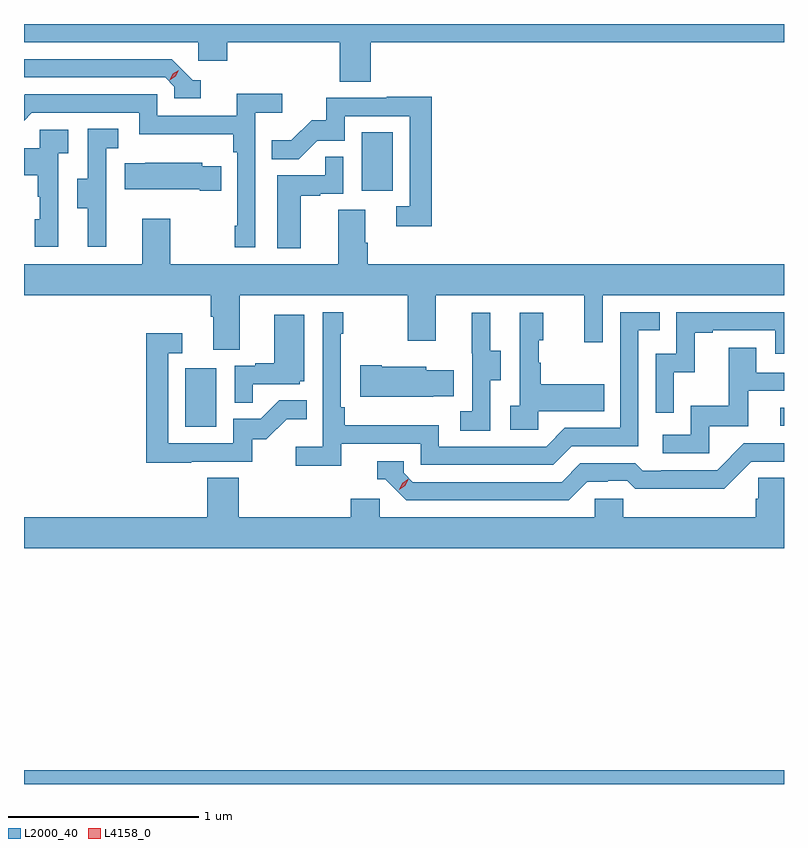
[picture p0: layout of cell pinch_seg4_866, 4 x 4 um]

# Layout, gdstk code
import gdstk
lib = gdstk.Library(unit=1e-6, precision=1e-09)
def R(c, l, rs):  # rectangles x0, y0, x1, y1
    for r in rs: c.add(gdstk.rectangle(r[:2], r[2:], *l))
def P(c, l, *ps):  # polygons
    for p in ps: c.add(gdstk.Polygon(p, *l))
L2000_40 = (2000, 40)
L4158_0 = (4158, 0)

pinch_seg4_866 = lib.new_cell('pinch_seg4_866')
R(pinch_seg4_866, L2000_40, [(853.56,790.252,857.56,790.324), (854.408,792.132,854.572,792.439), (857.541,792.138,857.56,792.231), (855.338,793.374,855.502,793.681)])
P(pinch_seg4_866, L2000_40, [(855.386,794.156),(857.56,794.156),(857.56,794.252),(853.56,794.252),(853.56,794.156),(854.478,794.156),(854.478,794.058),(854.63,794.058),(854.63,794.156),(855.221,794.156),(855.221,793.948),(855.386,793.948)],
  [(854.491,793.956),(854.448,793.956),(854.337,794.067),(853.56,794.067),(853.56,793.971),(854.304,793.971),(854.352,793.923),(854.352,793.86),(854.491,793.86)],
  [(854.778,793.784),(854.92,793.784),(854.92,793.886),(854.681,793.886),(854.681,793.77),(854.262,793.77),(854.262,793.881),(853.565,793.881),(853.56,793.876),(853.56,793.743),(853.602,793.785),(854.166,793.785),(854.166,793.673),(854.662,793.673),(854.662,793.577),(854.682,793.577),(854.682,793.189),(854.67,793.189),(854.67,793.077),(854.778,793.077)],
  [(855.707,793.868),(855.469,793.868),(855.469,793.863),(855.151,793.863),(855.151,793.746),(855.074,793.746),(854.967,793.639),(854.863,793.639),(854.863,793.54),(855.006,793.54),(855.104,793.638),(855.249,793.638),(855.249,793.767),(855.591,793.767),(855.591,793.293),(855.519,793.293),(855.519,793.188),(855.707,793.188)],
  [(853.994,793.293),(853.992,793.293),(853.992,793.597),(854.056,793.597),(854.056,793.7),(853.896,793.7),(853.896,793.437),(853.841,793.437),(853.841,793.282),(853.895,793.282),(853.895,793.08),(853.994,793.08)],
  [(853.74,793.571),(853.792,793.571),(853.792,793.695),(853.644,793.695),(853.644,793.597),(853.56,793.597),(853.56,793.457),(853.632,793.457),(853.632,793.343),(853.642,793.343),(853.642,793.224),(853.616,793.224),(853.616,793.08),(853.74,793.08)],
  [(855.016,793.347),(855.119,793.347),(855.119,793.359),(855.24,793.359),(855.24,793.553),(855.145,793.553),(855.145,793.455),(854.894,793.455),(854.894,793.073),(855.016,793.073)],
  [(854.597,793.504),(854.499,793.504),(854.499,793.522),(854.197,793.522),(854.197,793.519),(854.089,793.519),(854.089,793.382),(854.486,793.382),(854.486,793.375),(854.597,793.375)],
  [(854.695,792.824),(855.58,792.824),(855.58,792.585),(855.727,792.585),(855.727,792.824),(856.508,792.824),(856.508,792.576),(856.605,792.576),(856.605,792.824),(857.56,792.824),(857.56,792.988),(855.368,792.988),(855.368,793.1),(855.355,793.1),(855.355,793.274),(855.215,793.274),(855.215,792.988),(854.331,792.988),(854.331,793.228),(854.183,793.228),(854.183,792.988),(853.56,792.988),(853.56,792.824),(854.543,792.824),(854.543,792.712),(854.555,792.712),(854.555,792.538),(854.695,792.538)],
  [(855.23,792.042),(855.648,792.042),(855.648,791.931),(856.345,791.931),(856.444,792.03),(856.794,792.03),(856.794,792.639),(856.907,792.639),(856.907,792.735),(856.698,792.735),(856.698,792.126),(856.407,792.126),(856.308,792.027),(855.744,792.027),(855.744,792.139),(855.248,792.139),(855.248,792.235),(855.228,792.235),(855.228,792.623),(855.241,792.623),(855.241,792.736),(855.132,792.736),(855.132,792.028),(854.991,792.028),(854.991,791.926),(855.23,791.926)],
  [(856.98,792.419),(857.09,792.419),(857.09,792.627),(857.185,792.627),(857.185,792.639),(857.514,792.639),(857.514,792.516),(857.56,792.516),(857.56,792.735),(856.992,792.735),(856.992,792.516),(856.884,792.516),(856.884,792.207),(856.98,792.207)],
  [(856.014,792.376),(856.069,792.376),(856.069,792.531),(856.015,792.531),(856.015,792.733),(855.917,792.733),(855.917,792.519),(855.918,792.519),(855.918,792.215),(855.855,792.215),(855.855,792.112),(856.014,792.112)],
  [(856.266,792.215),(856.613,792.215),(856.613,792.355),(856.279,792.355),(856.279,792.47),(856.269,792.47),(856.269,792.588),(856.294,792.588),(856.294,792.733),(856.17,792.733),(856.17,792.242),(856.119,792.242),(856.119,792.117),(856.266,792.117)],
  [(854.765,792.357),(855.012,792.357),(855.012,792.372),(855.034,792.372),(855.034,792.721),(854.876,792.721),(854.876,792.466),(854.777,792.466),(854.777,792.453),(854.67,792.453),(854.67,792.259),(854.765,792.259)],
  [(854.441,791.949),(854.76,791.949),(854.76,792.066),(854.836,792.066),(854.943,792.173),(855.047,792.173),(855.047,792.272),(854.903,792.272),(854.805,792.174),(854.661,792.174),(854.661,792.045),(854.319,792.045),(854.319,792.519),(854.392,792.519),(854.392,792.625),(854.203,792.625),(854.203,791.944),(854.441,791.944)],
  [(857.166,792.135),(857.371,792.135),(857.371,792.321),(857.56,792.321),(857.56,792.417),(857.413,792.417),(857.413,792.547),(857.269,792.547),(857.269,792.244),(857.07,792.244),(857.07,792.09),(856.923,792.09),(856.923,791.994),(857.166,791.994)],
  [(855.713,792.293),(855.821,792.293),(855.821,792.43),(855.678,792.43),(855.678,792.448),(855.442,792.448),(855.442,792.456),(855.33,792.456),(855.33,792.29),(855.713,792.29)],
  [(856.525,791.844),(856.632,791.844),(856.632,791.847),(856.735,791.847),(856.777,791.805),(857.01,791.805),(857.01,791.807),(857.246,791.807),(857.388,791.949),(857.56,791.949),(857.56,792.045),(857.349,792.045),(857.208,791.904),(856.915,791.904),(856.915,791.901),(856.816,791.901),(856.777,791.94),(856.488,791.94),(856.389,791.841),(855.606,791.841),(855.558,791.889),(855.558,791.952),(855.419,791.952),(855.419,791.856),(855.462,791.856),(855.573,791.745),(856.426,791.745)],
  [(857.56,791.864),(857.425,791.864),(857.425,791.754),(857.411,791.754),(857.411,791.656),(856.713,791.656),(856.713,791.754),(856.563,791.754),(856.563,791.656),(855.432,791.656),(855.432,791.754),(855.281,791.754),(855.281,791.656),(854.69,791.656),(854.69,791.864),(854.525,791.864),(854.525,791.656),(853.56,791.656),(853.56,791.492),(857.56,791.492)])
P(pinch_seg4_866, L4158_0, [(854.328,793.957),(854.328,793.957),(854.344,793.99),(854.375,794.009),(854.375,794.009),(854.375,794.009),(854.359,793.976),(854.328,793.957)],
  [(855.536,791.802),(855.536,791.803),(855.551,791.835),(855.581,791.855),(855.582,791.855),(855.582,791.855),(855.566,791.822),(855.536,791.802)])

lib.write_gds('pinch_seg4_866.gds')
